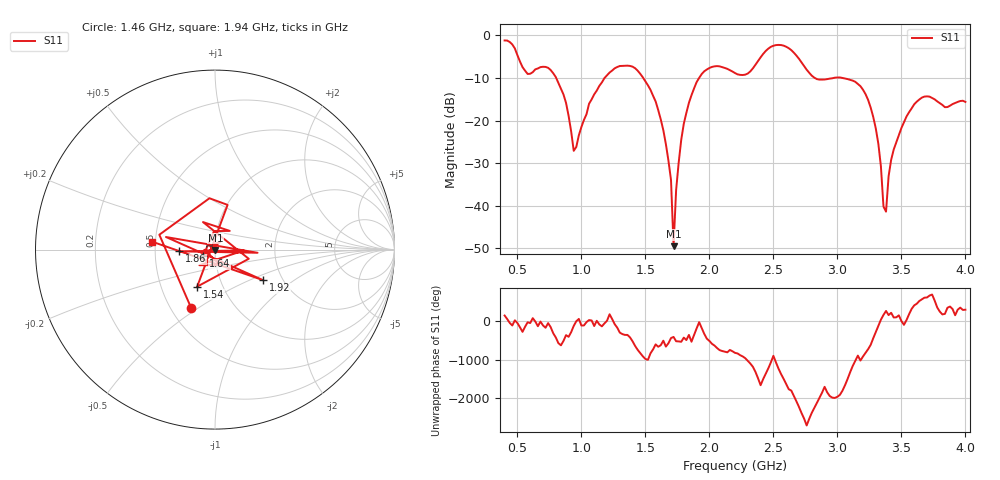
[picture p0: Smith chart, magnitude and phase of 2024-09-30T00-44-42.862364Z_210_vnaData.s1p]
!Created with skrf (http://scikit-rf.org).
# Hz S RI R 50.0
!freq ReS11 ImS11
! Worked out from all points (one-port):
!   181 points, 400 MHz to 4 GHz, reference 50 ohm
!   lowest |S11| = -49.5 dB at 1.72 GHz (marker M1), VSWR 1.01, Z = 50.2 - j0.271 ohm
!   |S11| at or under -10 dB: 802.8 MHz to 1.181 GHz (378.3 MHz wide, 38.1 % of centre); 1.483 GHz to 1.92 GHz (437.1 MHz wide, 25.7 % of centre); 3.04 GHz to end of sweep (the widest 3 of 4)
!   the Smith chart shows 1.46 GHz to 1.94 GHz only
!   S11 on the Smith chart (normalised r, x): 1.46 GHz: 0.63, -0.47; 1.54 GHz: 0.76, -0.33; 1.64 GHz: 0.87, -0.07; 1.86 GHz: 0.67, -0.01; 1.92 GHz: 1.59, -0.60; 1.94 GHz: 0.48, +0.05
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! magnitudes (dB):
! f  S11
! 400 MHz  -1.2
! 860 MHz  -13.9
! 940 MHz  -27.1
! 1.06 GHz  -16.0
! 1.3 GHz  -7.2
! 1.46 GHz  -9.0
! 1.54 GHz  -12.8
! 1.64 GHz  -22.3
! 1.7 GHz  -33.9
! 1.72 GHz  -49.5
! 1.74 GHz  -36.3
! 1.76 GHz  -29.9
! 1.86 GHz  -14.1
! 1.92 GHz  -10.0
! 1.94 GHz  -9.1
! 2.2 GHz  -8.9
! 2.5 GHz  -2.4
! 2.66 GHz  -4.1
! 2.84 GHz  -10.3
! 3.1 GHz  -10.4
! 3.28 GHz  -19.2
! 3.32 GHz  -25.5
! 3.36 GHz  -40.2
! 3.38 GHz  -41.4
! 3.42 GHz  -29.2
! 3.56 GHz  -18.0
! 3.68 GHz  -14.4
! 4 GHz  -15.6
